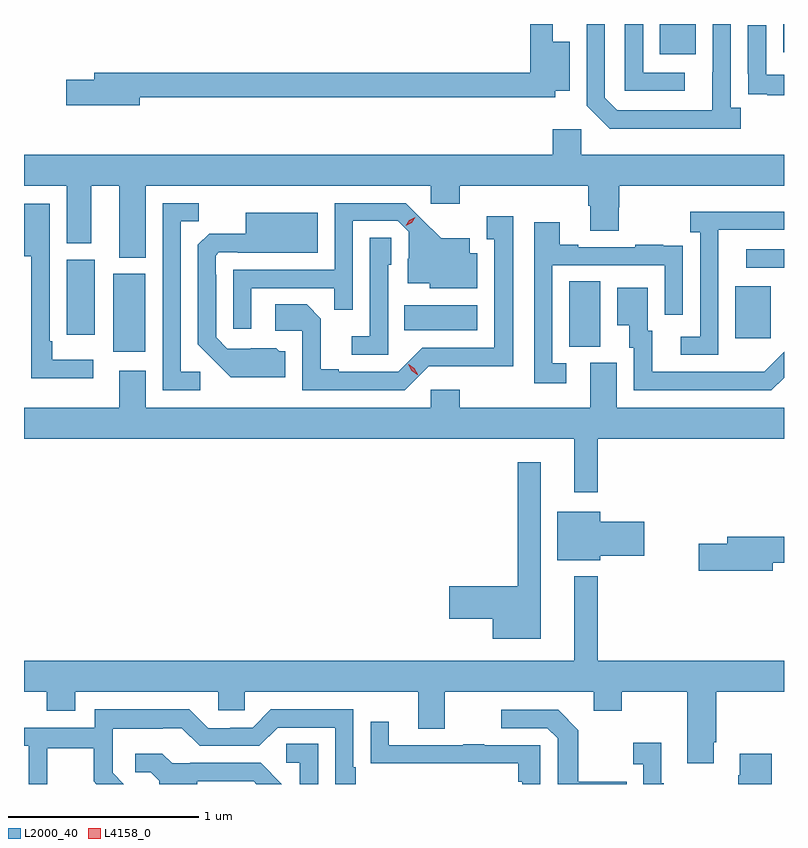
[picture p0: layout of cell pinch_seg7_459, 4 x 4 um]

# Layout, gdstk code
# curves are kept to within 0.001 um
import gdstk
lib = gdstk.Library(unit=1e-6, precision=1e-09)
def R(c, l, rs):  # rectangles x0, y0, x1, y1
    for r in rs: c.add(gdstk.rectangle(r[:2], r[2:], *l))
def P(c, l, *ps):  # polygons
    for p in ps: c.add(gdstk.Polygon(p, *l))
L2000_40 = (2000, 40)
L4158_0 = (4158, 0)

pinch_seg7_459 = lib.new_cell('pinch_seg7_459')
R(pinch_seg7_459, L2000_40, [(196.664,1062.345,196.831,1062.757), (199.064,1062.373,199.228,1062.716), (199.937,1062.417,200.125,1062.691), (196.418,1062.435,196.567,1062.831), (198.196,1062.458,198.58,1062.592), (199.995,1062.789,200.194,1062.885), (199.541,1063.913,199.729,1064.071), (200.189,1063.923,200.194,1064.071)])
P(pinch_seg7_459, L2000_40, [(199.672,1063.815),(199.452,1063.815),(199.452,1064.071),(199.356,1064.071),(199.356,1063.719),(199.672,1063.719)],
  [(196.804,1063.686),(198.99,1063.686),(198.99,1063.721),(199.066,1063.721),(199.066,1063.978),(198.977,1063.978),(198.977,1064.071),(198.859,1064.071),(198.859,1063.814),(196.565,1063.814),(196.565,1063.778),(196.416,1063.778),(196.416,1063.643),(196.804,1063.643)],
  [(199.966,1063.63),(199.914,1063.63),(199.914,1064.071),(199.818,1064.071),(199.817,1063.617),(199.317,1063.617),(199.251,1063.683),(199.251,1064.071),(199.155,1064.071),(199.155,1063.641),(199.276,1063.52),(199.966,1063.52)],
  [(200.194,1063.803),(200.1,1063.803),(200.1,1064.065),(200.004,1064.065),(200.004,1063.81),(200.005,1063.81),(200.005,1063.701),(200.107,1063.701),(200.107,1063.695),(200.194,1063.695)],
  [(196.834,1063.22),(198.336,1063.22),(198.336,1063.125),(198.488,1063.125),(198.488,1063.22),(199.163,1063.22),(199.163,1063.114),(199.175,1063.114),(199.175,1062.982),(199.323,1062.982),(199.323,1063.107),(199.328,1063.107),(199.328,1063.22),(200.194,1063.22),(200.194,1063.384),(199.128,1063.384),(199.128,1063.516),(198.977,1063.516),(198.977,1063.384),(196.194,1063.384),(196.194,1063.22),(196.418,1063.22),(196.418,1062.916),(196.549,1062.916),(196.549,1063.22),(196.694,1063.22),(196.694,1062.842),(196.834,1062.842)],
  [(197.122,1062.24),(197.019,1062.24),(197.019,1063.033),(197.115,1063.033),(197.115,1063.128),(196.923,1063.128),(196.923,1062.144),(197.122,1062.144)],
  [(197.391,1062.681),(197.827,1062.681),(197.827,1062.568),(197.925,1062.568),(197.925,1063.035),(198.162,1063.035),(198.219,1062.978),(198.219,1062.836),(198.215,1062.836),(198.215,1062.707),(198.33,1062.707),(198.33,1062.68),(198.58,1062.68),(198.58,1062.865),(198.541,1062.865),(198.541,1062.943),(198.389,1062.943),(198.202,1063.128),(197.829,1063.128),(197.829,1062.777),(197.295,1062.777),(197.295,1062.468),(197.391,1062.468)],
  [(196.558,1062.304),(196.342,1062.304),(196.342,1062.4),(196.329,1062.4),(196.329,1063.126),(196.194,1063.126),(196.194,1062.849),(196.233,1062.849),(196.233,1062.206),(196.558,1062.206)],
  [(199.848,1062.787),(199.849,1062.787),(199.849,1062.987),(200.194,1062.987),(200.194,1063.084),(199.701,1063.084),(199.701,1062.974),(199.752,1062.974),(199.752,1062.426),(199.65,1062.426),(199.65,1062.33),(199.848,1062.33)],
  [(197.569,1062.348),(197.538,1062.348),(197.522,1062.364),(197.265,1062.363),(197.205,1062.423),(197.205,1062.752),(197.202,1062.752),(197.202,1062.852),(197.22,1062.87),(197.32,1062.87),(197.32,1062.866),(197.74,1062.866),(197.74,1063.078),(197.36,1063.078),(197.36,1062.967),(197.168,1062.967),(197.109,1062.908),(197.109,1062.386),(197.281,1062.212),(197.569,1062.212)],
  [(198.324,1062.27),(198.769,1062.269),(198.769,1063.06),(198.629,1063.06),(198.629,1062.939),(198.668,1062.939),(198.668,1062.366),(198.291,1062.366),(198.165,1062.24),(197.851,1062.24),(197.851,1062.253),(197.757,1062.253),(197.757,1062.52),(197.681,1062.596),(197.517,1062.596),(197.517,1062.456),(197.658,1062.456),(197.658,1062.144),(198.198,1062.144)],
  [(199.048,1062.285),(198.975,1062.285),(198.975,1062.801),(199.566,1062.801),(199.566,1062.54),(199.662,1062.54),(199.662,1062.794),(199.661,1062.794),(199.661,1062.903),(199.559,1062.903),(199.559,1062.91),(199.411,1062.91),(199.411,1062.897),(199.111,1062.897),(199.111,1062.91),(199.015,1062.91),(199.015,1063.027),(198.879,1063.027),(198.879,1062.18),(199.048,1062.18)],
  [(198.111,1062.804),(198.126,1062.804),(198.126,1062.947),(198.015,1062.947),(198.015,1062.427),(197.919,1062.427),(197.919,1062.33),(198.111,1062.33)],
  [(200.194,1062.21),(200.194,1062.346),(200.089,1062.241),(199.501,1062.24),(199.501,1062.456),(199.477,1062.456),(199.477,1062.682),(199.316,1062.682),(199.316,1062.485),(199.379,1062.485),(199.379,1062.366),(199.404,1062.366),(199.404,1062.144),(200.128,1062.144)],
  [(199.213,1061.888),(200.194,1061.888),(200.194,1062.052),(199.315,1062.052),(199.315,1062.288),(199.175,1062.288),(199.175,1062.052),(198.488,1062.052),(198.488,1062.145),(198.336,1062.145),(198.336,1062.052),(196.834,1062.052),(196.834,1062.247),(196.694,1062.247),(196.694,1062.052),(196.194,1062.052),(196.194,1061.888),(199.091,1061.888),(199.091,1061.607),(199.213,1061.607)],
  [(198.913,1061.764),(198.792,1061.764),(198.792,1061.111),(198.432,1061.111),(198.432,1060.94),(198.662,1060.94),(198.662,1060.835),(198.913,1060.835)],
  [(199.228,1061.273),(199.459,1061.273),(199.459,1061.451),(199.228,1061.451),(199.228,1061.503),(199.001,1061.503),(199.001,1061.249),(199.228,1061.249)],
  [(200.134,1061.236),(200.194,1061.236),(200.194,1061.372),(199.895,1061.372),(199.895,1061.336),(199.746,1061.336),(199.746,1061.194),(200.134,1061.194)],
  [(199.825,1060.291),(199.838,1060.291),(199.838,1060.556),(200.194,1060.556),(200.194,1060.72),(199.213,1060.72),(199.213,1061.164),(199.091,1061.164),(199.091,1060.72),(196.194,1060.72),(196.194,1060.556),(196.313,1060.556),(196.313,1060.457),(196.465,1060.457),(196.465,1060.556),(197.217,1060.556),(197.217,1060.458),(197.355,1060.458),(197.355,1060.556),(198.269,1060.556),(198.269,1060.362),(198.409,1060.362),(198.409,1060.556),(199.193,1060.556),(199.193,1060.457),(199.341,1060.457),(199.341,1060.556),(199.685,1060.556),(199.685,1060.179),(199.825,1060.179)],
  [(196.317,1060.26),(196.561,1060.26),(196.561,1060.085),(196.575,1060.071),(196.719,1060.071),(196.66,1060.13),(196.66,1060.227),(196.662,1060.227),(196.662,1060.361),(196.925,1060.361),(196.925,1060.365),(197.025,1060.365),(197.118,1060.272),(197.433,1060.272),(197.529,1060.368),(197.832,1060.368),(197.832,1060.071),(197.941,1060.071),(197.941,1060.159),(197.928,1060.159),(197.928,1060.464),(197.493,1060.464),(197.397,1060.368),(197.279,1060.368),(197.279,1060.365),(197.163,1060.365),(197.063,1060.465),(196.566,1060.465),(196.566,1060.368),(196.194,1060.368),(196.194,1060.272),(196.218,1060.272),(196.218,1060.071),(196.317,1060.071)],
  [(199.367,1060.083),(199.111,1060.083),(199.111,1060.355),(199.005,1060.461),(198.705,1060.461),(198.705,1060.365),(198.948,1060.365),(199.002,1060.311),(199.002,1060.071),(199.367,1060.071)],
  [(198.912,1060.275),(198.617,1060.275),(198.617,1060.28),(198.505,1060.28),(198.505,1060.275),(198.115,1060.275),(198.115,1060.399),(198.019,1060.399),(198.019,1060.18),(198.121,1060.18),(198.121,1060.179),(198.796,1060.179),(198.796,1060.082),(198.816,1060.082),(198.816,1060.071),(198.912,1060.071)],
  [(199.561,1060.075),(199.549,1060.075),(199.549,1060.288),(199.401,1060.288),(199.401,1060.175),(199.452,1060.175),(199.452,1060.071),(199.561,1060.071)],
  [(197.742,1060.283),(197.574,1060.283),(197.574,1060.182),(197.646,1060.182),(197.646,1060.071),(197.742,1060.071)],
  [(200.129,1060.231),(199.961,1060.231),(199.961,1060.118),(199.954,1060.118),(199.954,1060.071),(200.129,1060.071)],
  [(197.107,1060.086),(197.402,1060.086),(197.417,1060.071),(197.551,1060.071),(197.44,1060.182),(197.068,1060.182),(197.068,1060.179),(196.974,1060.179),(196.922,1060.231),(196.779,1060.231),(196.779,1060.134),(196.86,1060.134),(196.907,1060.087),(196.907,1060.071),(197.107,1060.071)])
P(pinch_seg7_459, L4158_0, [(198.265,1062.226),(198.234,1062.246),(198.217,1062.279),(198.217,1062.279),(198.218,1062.279),(198.249,1062.26),(198.266,1062.227),(198.266,1062.226)],
  [(198.204,1063.009),(198.204,1063.01),(198.221,1063.039),(198.252,1063.054),(198.252,1063.054),(198.252,1063.054),(198.235,1063.024),(198.204,1063.009)])

lib.write_gds('pinch_seg7_459.gds')
